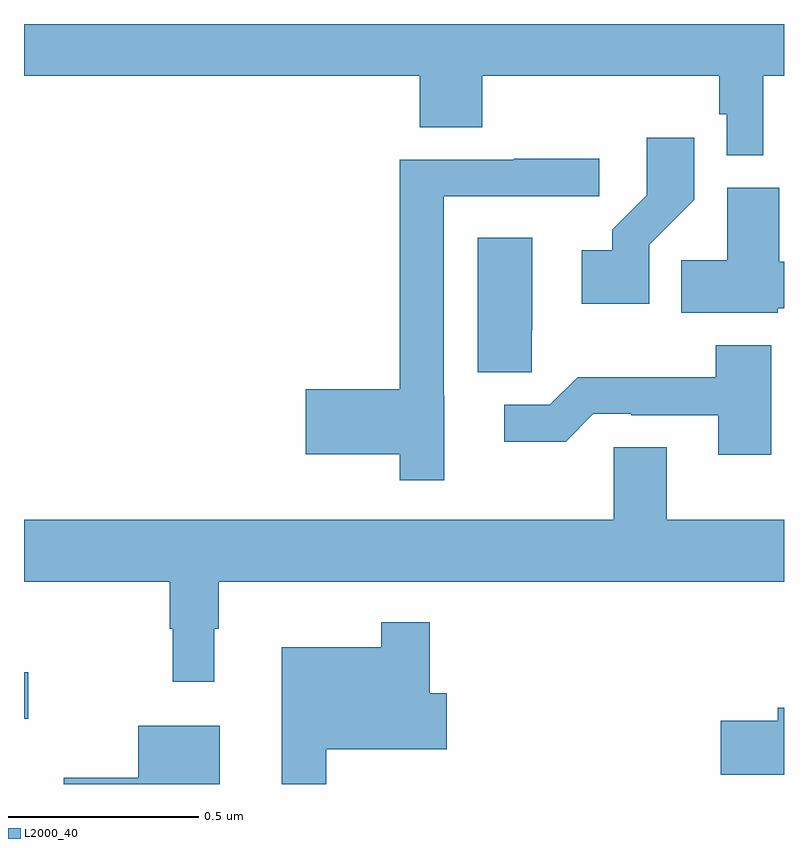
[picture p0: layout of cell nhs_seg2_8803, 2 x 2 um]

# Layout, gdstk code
import gdstk
lib = gdstk.Library(unit=1e-6, precision=1e-09)
def R(c, l, rs):  # rectangles x0, y0, x1, y1
    for r in rs: c.add(gdstk.rectangle(r[:2], r[2:], *l))
def P(c, l, *ps):  # polygons
    for p in ps: c.add(gdstk.Polygon(p, *l))
L2000_40 = (2000, 40)

nhs_seg2_8803 = lib.new_cell('nhs_seg2_8803')
R(nhs_seg2_8803, L2000_40, [(221,617.972,221.011,618.094)])
P(nhs_seg2_8803, L2000_40, [(222.946,619.664),(223,619.664),(223,619.8),(221,619.8),(221,619.664),(222.041,619.664),(222.041,619.528),(222.206,619.528),(222.206,619.664),(222.829,619.664),(222.829,619.563),(222.849,619.563),(222.849,619.454),(222.946,619.454)],
  [(222.645,619.219),(222.764,619.338),(222.764,619.501),(222.639,619.501),(222.639,619.349),(222.548,619.259),(222.548,619.204),(222.468,619.204),(222.468,619.064),(222.645,619.064)],
  [(222.106,618.822),(222.105,618.822),(222.105,619.347),(222.514,619.347),(222.514,619.446),(222.289,619.446),(222.289,619.443),(221.989,619.443),(221.989,618.839),(221.742,618.839),(221.742,618.668),(221.989,618.668),(221.989,618.6),(222.106,618.6)],
  [(222.984,619.052),(223,619.052),(223,619.174),(222.988,619.174),(222.988,619.369),(222.851,619.369),(222.851,619.178),(222.73,619.178),(222.73,619.04),(222.984,619.04)],
  [(222.336,618.994),(222.337,618.994),(222.337,619.237),(222.194,619.237),(222.194,618.883),(222.336,618.883)],
  [(222.967,618.955),(222.82,618.955),(222.82,618.871),(222.457,618.871),(222.384,618.798),(222.264,618.798),(222.264,618.701),(222.425,618.701),(222.498,618.774),(222.598,618.774),(222.598,618.771),(222.827,618.771),(222.827,618.666),(222.967,618.666)],
  [(221,618.332),(221.383,618.332),(221.383,618.209),(221.391,618.209),(221.391,618.069),(221.5,618.069),(221.5,618.209),(221.512,618.209),(221.512,618.332),(223,618.332),(223,618.496),(222.691,618.496),(222.691,618.686),(222.552,618.686),(222.552,618.496),(221,618.496)],
  [(221.795,617.891),(222.112,617.891),(222.112,618.039),(222.068,618.039),(222.068,618.226),(221.94,618.226),(221.94,618.16),(221.678,618.16),(221.678,617.8),(221.795,617.8)],
  [(223,618.001),(222.983,618.001),(222.983,617.967),(222.834,617.967),(222.834,617.825),(223,617.825)],
  [(221.515,617.953),(221.3,617.953),(221.3,617.816),(221.104,617.816),(221.104,617.8),(221.515,617.8)])

lib.write_gds('nhs_seg2_8803.gds')
